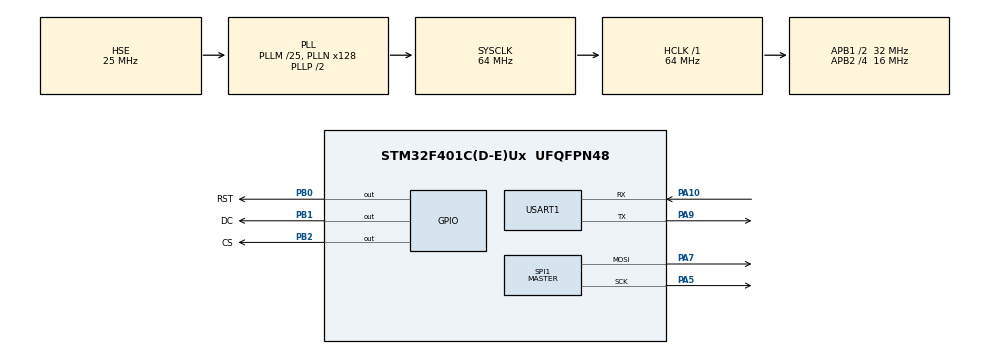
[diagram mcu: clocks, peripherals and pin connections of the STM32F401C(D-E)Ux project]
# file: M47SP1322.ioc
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Mcu.Family=STM32F4
Mcu.Name=STM32F401C(D-E)Ux
Mcu.Package=UFQFPN48
NVIC.PriorityGroup=NVIC_PRIORITYGROUP_4
PA10.Mode=Asynchronous
PA10.Signal=USART1_RX
PA13.Mode=Serial_Wire
PA13.Signal=SYS_JTMS-SWDIO
PA14.Mode=Serial_Wire
PA14.Signal=SYS_JTCK-SWCLK
PA5.Mode=TX_Only_Simplex_Unidirect_Master
PA5.Signal=SPI1_SCK
PA7.Mode=TX_Only_Simplex_Unidirect_Master
PA7.Signal=SPI1_MOSI
PA9.Mode=Asynchronous
PA9.Signal=USART1_TX
PB0.GPIO_Label=RST
PB0.PinState=GPIO_PIN_SET
PB0.Signal=GPIO_Output
PB1.GPIO_Label=DC
PB1.PinState=GPIO_PIN_RESET
PB1.Signal=GPIO_Output
PB2.GPIO_Label=CS
PB2.PinState=GPIO_PIN_SET
PB2.Signal=GPIO_Output
PH0\ -\ OSC_IN.Mode=HSE-External-Oscillator
PH0\ -\ OSC_IN.Signal=RCC_OSC_IN
PH1\ -\ OSC_OUT.Mode=HSE-External-Oscillator
PH1\ -\ OSC_OUT.Signal=RCC_OSC_OUT
ProjectManager.HeapSize=0x200
ProjectManager.StackSize=0x400
ProjectManager.TargetToolchain=STM32CubeIDE
RCC.48MHZClocksFreq_Value=32000000
RCC.AHBFreq_Value=64000000
RCC.APB1CLKDivider=RCC_HCLK_DIV2
RCC.APB1Freq_Value=32000000
RCC.APB1TimFreq_Value=64000000
RCC.APB2CLKDivider=RCC_HCLK_DIV4
RCC.APB2Freq_Value=16000000
RCC.APB2TimFreq_Value=32000000
RCC.CortexFreq_Value=64000000
RCC.HCLKFreq_Value=64000000
RCC.HSE_VALUE=25000000
RCC.HSI_VALUE=16000000
RCC.LSE_VALUE=32768
RCC.PLLM=25
RCC.PLLN=128
RCC.PLLSourceVirtual=RCC_PLLSOURCE_HSE
RCC.SYSCLKFreq_VALUE=64000000
RCC.SYSCLKSource=RCC_SYSCLKSOURCE_PLLCLK
RCC.VCOOutputFreq_Value=128000000
SPI1.BaudRatePrescaler=SPI_BAUDRATEPRESCALER_16
SPI1.CLKPolarity=SPI_POLARITY_LOW
SPI1.Direction=SPI_DIRECTION_2LINES
SPI1.Mode=SPI_MODE_MASTER
SPI1.VirtualType=VM_MASTER
USART1.VirtualMode=VM_ASYNC
board=custom

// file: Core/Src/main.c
/* USER CODE BEGIN Header */
/**
  ******************************************************************************
  * @file           : main.c
  * @brief          : Main program body
  ******************************************************************************
  * @attention
  *
  * <h2><center>&copy; Copyright (c) 2020 STMicroelectronics.
  * All rights reserved.</center></h2>
  *
  * This software component is licensed by ST under BSD 3-Clause license,
  * the "License"; You may not use this file except in compliance with the
  * License. You may obtain a copy of the License at:
  *                        opensource.org/licenses/BSD-3-Clause
  *
  ******************************************************************************
  */
/* USER CODE END Header */
#include "main.h"

/* USER CODE BEGIN Includes */
#include <stdio.h>
/* USER CODE END Includes */

/* USER CODE BEGIN PD */
#define SEND_CMD      1   // Display instruction (command)
#define SEND_DATA      2   // Display instruction (data)
/* USER CODE END PD */

SPI_HandleTypeDef hspi1;

UART_HandleTypeDef huart1;

/* USER CODE BEGIN PV */
// start SSD1322(M47SP1322) command
const uint8_t ENABLE_GST 			=	0b00000000; // 10.1.1 Enable Gray Scale Table (00h)
const uint8_t SET_COL_ADDRESS 		=	0b00010101; // 10.1.2 Set Column Address (15h)
const uint8_t WEITE_RAM 			= 	0b01011100; // 10.1.3 Write RAM Command (5Ch)
const uint8_t READ_RAM 				=	0b01011101; // 10.1.4 Read RAM Command (5Dh)
const uint8_t SET_ROW_ADDRESS 		=	0b01110101; // 10.1.5 Set Row Address (75h)
const uint8_t SET_LINE_MODE			=	0b10100000; // 10.1.6 Set Re-map & Dual COM Line Mode (A0h)
const uint8_t SET_START_LINE		=	0b10100001; // 10.1.7 Set Display Start Line (A1h)
const uint8_t SET_DISP_OFSET		=	0b10100010; // 10.1.8 Set Display Offset (A2h)
const uint8_t SET_DISP_MODE_NORMAL	=	0b10100100; // 10.1.9 Set Display Mode - Normal Display (A4h)
const uint8_t SET_DISP_MODE_ON		=	0b10100101; // 10.1.9 Set Display Mode - Display ON (A5h)
const uint8_t SET_DISP_MODE_OFF		=	0b10100110; // 10.1.9 Set Display Mode - Display OFF (A6h)
const uint8_t SET_DISP_MODE_INVERS	=	0b10100111; // 10.1.9 Set Display Mode - Inverse Display (A7h)
const uint8_t PARTAL_DISP_ENABLE	=	0b10101000; // 10.1.10 Enable Partial Display (A8h)
const uint8_t PARTAL_DISP_DISABLE	=	0b10101001; // 10.1.11 Exit Partial Display (A9h)
const uint8_t SET_FUNCTION			=	0b10101011; // 10.1.12 Set Function selection (ABh)
const uint8_t SET_DISP_ON			=	0b10101110; // 10.1.13 Set Display ON (AEh)
const uint8_t SET_DISP_OFF			=	0b10101111; // 10.1.13 Set Display OFF (AFh)
const uint8_t SET_PHASE_LEN			=	0b10110001; // 10.1.14 Set Phase Length (B1h)
const uint8_t SET_FRONT_DIV_OSC_FRQ	=	0b10110011; // 10.1.15 Set Front Clock Divider / Oscillator Frequency (B3h)
const uint8_t SET_DISP_ENH_A		=	0b10110100; // 10.1.16 Display Enhancement A (B4h)
const uint8_t SET_GPIO				=	0b10110101; // 10.1.17 Set GPIO (B5h)
const uint8_t SET_PRE_CHARGE_PERIOD	=	0b10110110; // 10.1.18 Set Second Pre-charge period (B6h)
const uint8_t SET_GST				=	0b10111000; // 10.1.19 Set Gray Scale Table (B8h)
const uint8_t SEL_DEF_LINEAR_GST	=	0b10111001; // 10.1.20 Select Default Linear Gray Scale Table (B9h)
const uint8_t SET_PRE_CHG_VOLTAGE	=	0b10111011; // 10.1.21 Set Pre-charge voltage (BBh)
const uint8_t SET_VCOMH				=	0b10111110; // 10.1.22 Set V COMH Voltage (BEh)
const uint8_t SET_CONTRAST			=	0b11000001; // 10.1.23 Set Contrast Current (C1h)
const uint8_t SET_MASTER_CURRENT	=	0b11000111; // 10.1.24 Master Current Control (C7h)
const uint8_t SET_MULTIPLEX_RATIO	=	0b11001011; // 10.1.25 Set Multiplex Ratio (CAh)
const uint8_t SET_DISP_ENH_B		=	0b11010001; // 10.1.26 Display Enhancement B (D1h)
const uint8_t SET_COMMAND_LOCK		=	0b11111101; // 10.1.27 Set Command Lock (FDh)
// end SSD1322(M47SP1322) command

unsigned char sendType;
uint8_t aTxBuffer = 0b00000000;
uint8_t aRxBuffer[] = {0x00};

const uint16_t MAXROWS =   64;
const uint16_t MAXCOLS =  256;
const uint16_t Col0Off =  112;
const uint16_t ColDiv  =    4;

uint16_t curDisplayRow = 0;
uint16_t curDisplayCol = 0;

/* USER CODE END PV */

void SystemClock_Config(void);
static void MX_GPIO_Init(void);
static void MX_SPI1_Init(void);
static void MX_USART1_UART_Init(void);
/* USER CODE BEGIN PFP */

//reset display //
void Reset_Device(void);
void Init_Device(void);
// send data //
void displaySend(unsigned char sendType, uint8_t v);
void displaySendType(unsigned char sendType);
void displaySendData(uint8_t v);
void displaySendEnd(void);
void Set_Column_Address(unsigned char a, unsigned char b);
void Set_Row_Address(unsigned char a, unsigned char b);
void Set_Write_RAM();
void FillDisplay(void);
void ClearDisplay(void);

/* USER CODE END PFP */

int main(void)
{

  /* MCU Configuration--------------------------------------------------------*/

  /* Reset of all peripherals, Initializes the Flash interface and the Systick. */
  HAL_Init();

  /* Configure the system clock */
  SystemClock_Config();

  /* Initialize all configured peripherals */
  MX_GPIO_Init();
  MX_SPI1_Init();
  MX_USART1_UART_Init();
  /* USER CODE BEGIN 2 */
  /* RESET DISPLAY */
  Reset_Device();
  Init_Device();
  /* USER CODE END 2 */

  /* Infinite loop */
  while (1)
  {

    /* USER CODE BEGIN 3 */
	  FillDisplay();
	  HAL_Delay(1000);
	  ClearDisplay();
	  HAL_Delay(1000);
  }

  /* USER CODE END 3 */
}

void SystemClock_Config(void)
{
  RCC_OscInitTypeDef RCC_OscInitStruct = {0};
  RCC_ClkInitTypeDef RCC_ClkInitStruct = {0};

  /** Configure the main internal regulator output voltage
  */
  __HAL_RCC_PWR_CLK_ENABLE();
  __HAL_PWR_VOLTAGESCALING_CONFIG(PWR_REGULATOR_VOLTAGE_SCALE2);
  /** Initializes the RCC Oscillators according to the specified parameters
  * in the RCC_OscInitTypeDef structure.
  */
  RCC_OscInitStruct.OscillatorType = RCC_OSCILLATORTYPE_HSE;
  RCC_OscInitStruct.HSEState = RCC_HSE_ON;
  RCC_OscInitStruct.PLL.PLLState = RCC_PLL_ON;
  RCC_OscInitStruct.PLL.PLLSource = RCC_PLLSOURCE_HSE;
  RCC_OscInitStruct.PLL.PLLM = 25;
  RCC_OscInitStruct.PLL.PLLN = 128;
  RCC_OscInitStruct.PLL.PLLP = RCC_PLLP_DIV2;
  RCC_OscInitStruct.PLL.PLLQ = 4;
  if (HAL_RCC_OscConfig(&RCC_OscInitStruct) != HAL_OK)
  {
    Error_Handler();
  }
  /** Initializes the CPU, AHB and APB buses clocks
  */
  RCC_ClkInitStruct.ClockType = RCC_CLOCKTYPE_HCLK|RCC_CLOCKTYPE_SYSCLK
                              |RCC_CLOCKTYPE_PCLK1|RCC_CLOCKTYPE_PCLK2;
  RCC_ClkInitStruct.SYSCLKSource = RCC_SYSCLKSOURCE_PLLCLK;
  RCC_ClkInitStruct.AHBCLKDivider = RCC_SYSCLK_DIV1;
  RCC_ClkInitStruct.APB1CLKDivider = RCC_HCLK_DIV2;
  RCC_ClkInitStruct.APB2CLKDivider = RCC_HCLK_DIV4;

  if (HAL_RCC_ClockConfig(&RCC_ClkInitStruct, FLASH_LATENCY_2) != HAL_OK)
  {
    Error_Handler();
  }
}

static void MX_SPI1_Init(void)
{

  /* SPI1 parameter configuration*/
  hspi1.Instance = SPI1;
  hspi1.Init.Mode = SPI_MODE_MASTER;
  hspi1.Init.Direction = SPI_DIRECTION_2LINES;
  hspi1.Init.DataSize = SPI_DATASIZE_8BIT;
  hspi1.Init.CLKPolarity = SPI_POLARITY_LOW;
  hspi1.Init.CLKPhase = SPI_PHASE_1EDGE;
  hspi1.Init.NSS = SPI_NSS_SOFT;
  hspi1.Init.BaudRatePrescaler = SPI_BAUDRATEPRESCALER_16;
  hspi1.Init.FirstBit = SPI_FIRSTBIT_MSB;
  hspi1.Init.TIMode = SPI_TIMODE_DISABLE;
  hspi1.Init.CRCCalculation = SPI_CRCCALCULATION_DISABLE;
  hspi1.Init.CRCPolynomial = 10;
  if (HAL_SPI_Init(&hspi1) != HAL_OK)
  {
    Error_Handler();
  }

}

static void MX_USART1_UART_Init(void)
{

  huart1.Instance = USART1;
  huart1.Init.BaudRate = 115200;
  huart1.Init.WordLength = UART_WORDLENGTH_8B;
  huart1.Init.StopBits = UART_STOPBITS_1;
  huart1.Init.Parity = UART_PARITY_NONE;
  huart1.Init.Mode = UART_MODE_TX_RX;
  huart1.Init.HwFlowCtl = UART_HWCONTROL_NONE;
  huart1.Init.OverSampling = UART_OVERSAMPLING_16;
  if (HAL_UART_Init(&huart1) != HAL_OK)
  {
    Error_Handler();
  }

}

static void MX_GPIO_Init(void)
{
  GPIO_InitTypeDef GPIO_InitStruct = {0};

  /* GPIO Ports Clock Enable */
  __HAL_RCC_GPIOH_CLK_ENABLE();
  __HAL_RCC_GPIOA_CLK_ENABLE();
  __HAL_RCC_GPIOB_CLK_ENABLE();

  /*Configure GPIO pin Output Level */
  HAL_GPIO_WritePin(GPIOB, RST_Pin|CS_Pin, GPIO_PIN_SET);

  /*Configure GPIO pin Output Level */
  HAL_GPIO_WritePin(DC_GPIO_Port, DC_Pin, GPIO_PIN_RESET);

  /*Configure GPIO pins : RST_Pin DC_Pin CS_Pin */
  GPIO_InitStruct.Pin = RST_Pin|DC_Pin|CS_Pin;
  GPIO_InitStruct.Mode = GPIO_MODE_OUTPUT_PP;
  GPIO_InitStruct.Pull = GPIO_NOPULL;
  GPIO_InitStruct.Speed = GPIO_SPEED_FREQ_LOW;
  HAL_GPIO_Init(GPIOB, &GPIO_InitStruct);

}

/* USER CODE BEGIN 4 */

void Reset_Device(void) {
//	HAL_GPIO_WritePin(CS_GPIO_Port, CS_Pin, GPIO_PIN_SET);
//	HAL_GPIO_WritePin(DC_GPIO_Port, DC_Pin, GPIO_PIN_RESET); // Ставми DC в low
	HAL_Delay(500);
	HAL_GPIO_WritePin(RST_GPIO_Port, RST_Pin, GPIO_PIN_RESET); // Ставми RESET в low
	HAL_Delay(2); // t1 минимум 0.1 милисекунда
	HAL_GPIO_WritePin(RST_GPIO_Port, RST_Pin, GPIO_PIN_SET); // Ставми RESET в h
	HAL_Delay(200); // t2 = t1 + HAL_Delay(1)
	displaySend(SEND_CMD, SET_DISP_OFF);
	HAL_Delay(400); // t AF

}

void Init_Device(void) {
	displaySend(SEND_CMD, SET_COMMAND_LOCK); 			// 0xFD Устанавливаем блокировку комманд дисплея
	displaySend(SEND_DATA, 0x12);		 				// 0x12 0x12 = Заблокировано; 0x16 = Разблокировано
	displaySend(SEND_CMD, SET_DISP_MODE_OFF);			// 0xA4 Выключаем дисплей
	displaySend(SEND_CMD, SET_FRONT_DIV_OSC_FRQ); 		// 0xB3 Устанавливаем коэффициент деления DCLK и частоту CLK
	// A[3:0] Коэффициент деления (1-1024) [0001] - деление на 2
	// A[7:4] Частота [1001]
	displaySend(SEND_DATA, 0x91);						// 0x91 0b10010001
	displaySend(SEND_CMD, SET_MULTIPLEX_RATIO);			// 0xCA Установка включенных выводов COM (Set MUX Ratio)
	displaySend(SEND_DATA, 0x7F);						// 0x7F Включает все 128 выводов по горизонтали
	displaySend(SEND_CMD, SET_DISP_OFSET);				// 0xA2 Задаёт привязку начальной строки экрана
	displaySend(SEND_DATA, 0x00);						// 0x00 Начальная строка ROW0
	displaySend(SEND_CMD, SET_START_LINE);				// 0xA1 Начальная строка отображения
	displaySend(SEND_DATA, 0x00); 						// 0x00	Начальная строка ROW0
	displaySend(SEND_CMD, SET_LINE_MODE);				// 0xA0 Настройка последовательности отображения пикселей
	displaySend(SEND_DATA, 0x10); 						// 0x10 00010000
	/* A[0] = 0 установлен в 0, драйвер настроен в режим инкремента горизонтального адреса.
	 * A[1] = 0 (состояние по умолчанию после сброса): столбцы RAM 0 .. 119 привязаны к SEG0-SEG3 .. SEG476-SEG479
	 * A[2] = 0 (состояние по умолчанию после сброса): биты данных привязаны напрямую
	 * A[3] = 0
	 * A[4] = 1: сканирование снизу вверх
	 * A[5] = 0 (состояние по умолчанию после сброса): запрет разделения COM на четные / нечетные, назначение выводов COM последовательное, COM127, COM126...COM65, COM64...SEG479...SEG0...COM0 COM1...COM62, COM63
	 * A[6] = 0
	 * A[7] = 0
	 * */
	displaySend(SEND_DATA, 0x01); 						// 0x11 00000001
	/* B[4] = 0 (состояние по умолчанию после сброса): двойной режим для COM запрещен, см. рис. 10-6
	 * */
	displaySend(SEND_CMD, SET_GPIO); 					// 0xB5 Управление GPIO дисплея
	displaySend(SEND_DATA, 0x00); 						// 0x00 Выключены
	displaySend(SEND_CMD, SET_FUNCTION);				// 0xAB Питание ядра VDD
	displaySend(SEND_DATA, 0x01); 						// 0x01 внутренний регулятор
	displaySend(SEND_CMD, SET_DISP_ENH_A); 				// 0xB4 регулировка А
	displaySend(SEND_DATA, 0xA2); 						// 0xA2 A[1:0] = 10b: Internal VSL [reset]
	displaySend(SEND_DATA, 0xB5); 						// 0xB5 B[7:3] = 10110b: Normal [reset]
	displaySend(SEND_CMD, SET_CONTRAST); 				// 0xC1 Установка контраста 00h-ffh
	displaySend(SEND_DATA, 0x7F); 						// 0x7F Контраст
	displaySend(SEND_CMD, SET_MASTER_CURRENT); 			// 0xC7 управления выходным током SEG
	displaySend(SEND_DATA, 0x0F); 						// 0x0F A[3:0] = 1111b, без изменений (состояние после сброса)
	displaySend(SEND_CMD, SEL_DEF_LINEAR_GST); 			// 0xB9
	displaySend(SEND_CMD, SET_PHASE_LEN); 				// 0xB1
	displaySend(SEND_DATA, 0xE2); 						// 0xE2
	//        Phase 2 period (first pre-charge phase length) = 14 DCLKs
    displaySend(SEND_CMD, SET_DISP_ENH_B); 				// 0xD1
    displaySend(SEND_DATA, 0xA2); 						// 0xA2
    displaySend(SEND_DATA, 0x20); 						// 0x20
    displaySend(SEND_CMD, SET_PRE_CHG_VOLTAGE); 		// 0xBB
    displaySend(SEND_DATA, 0x17); 						// 0x17
    displaySend(SEND_CMD, SET_PRE_CHARGE_PERIOD); 		// 0xB6
    displaySend(SEND_DATA, 0x08); 						// 0x08
    displaySend(SEND_CMD, SET_VCOMH); 					// 0xBE
    displaySend(SEND_DATA, 0x04); 						// 0x04
    displaySend(SEND_CMD, SET_DISP_MODE_NORMAL); 		// 0xA6
    displaySend(SEND_CMD, PARTAL_DISP_DISABLE); 		// 0xA9
    displaySend(SEND_CMD, SET_DISP_MODE_ON); 			// 0xA5
    HAL_Delay(10);

}

void ClearDisplay(void){
	displaySend(SEND_CMD, SET_DISP_MODE_NORMAL);
	Set_Column_Address(0x00, MAXCOLS-1);
	Set_Row_Address(0x00, MAXROWS-1);
	Set_Write_RAM();
	displaySendType(SEND_DATA);
    for(int i=0; i<MAXROWS; i++)
    {
        for(int j=0; j<MAXCOLS/2; j++)
        {
            displaySendData(0x00);
        }
    }
    displaySendEnd();
    displaySend(SEND_CMD, SET_DISP_MODE_OFF);
}

void FillDisplay(void) {
	Set_Column_Address(0x00, MAXCOLS-1);
	Set_Row_Address(0x00, MAXROWS-1);
	Set_Write_RAM();
	displaySendType(SEND_DATA);
	for(int i=0; i<MAXROWS; i++)
	{
		for(int j=0; j<MAXCOLS/2; j++)
		{
			displaySendData(0xFF);
		}
	}
	displaySendEnd();
}

void Set_Column_Address(unsigned char a, unsigned char b)
{
    curDisplayCol = a;
    displaySend(SEND_CMD, SET_START_LINE);
    displaySend(SEND_DATA, (Col0Off+a)/ColDiv);
    displaySend(SEND_DATA, (Col0Off+b)/ColDiv);
}

void Set_Row_Address(unsigned char a, unsigned char b)
{
    curDisplayRow = a;
    displaySend(SEND_CMD, SET_ROW_ADDRESS);
    displaySend(SEND_DATA, a);
    displaySend(SEND_DATA, b);
}

void Set_Write_RAM()  // Enable MCU to Write into RAM
{
    displaySend(SEND_CMD, 0x5C);
}

void displaySend(unsigned char sendType, uint8_t v) {
	displaySendType(sendType); // Какой тип данных будем посылать дисплею? Данные или команду.
	displaySendData(v);
	HAL_GPIO_TogglePin(DC_GPIO_Port, DC_Pin);
	displaySendEnd();
}

void displaySendType(unsigned char sendType) {
	HAL_GPIO_WritePin(CS_GPIO_Port, CS_Pin, GPIO_PIN_RESET); // Перед передачей данных ставим CS в 0
	if (sendType == SEND_DATA) {
		HAL_GPIO_WritePin(DC_GPIO_Port, DC_Pin, GPIO_PIN_SET); // Если данные то ставим DC в 1
	} else if (sendType == SEND_CMD) {
		HAL_GPIO_WritePin(DC_GPIO_Port, DC_Pin, GPIO_PIN_RESET); // Если данные то ставим DC в 0
	}
}
void displaySendData(uint8_t v){
	uint8_t aTxBuffer = v;
	HAL_SPI_Transmit(&hspi1, &aTxBuffer, 1, 100);
}
void displaySendEnd(void){
	HAL_GPIO_WritePin(CS_GPIO_Port, CS_Pin, GPIO_PIN_SET); // После конца передачи ставим CS в 1
}

/* USER CODE END 4 */

void Error_Handler(void)
{
  __disable_irq();
  while (1)
  {
  }
}

/************************ (C) COPYRIGHT STMicroelectronics *****END OF FILE****/
